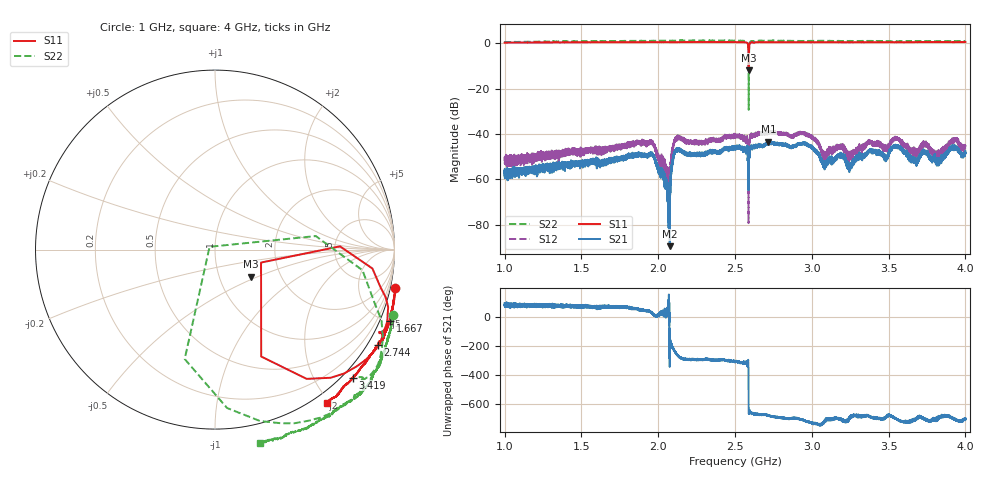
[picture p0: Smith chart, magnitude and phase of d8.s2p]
!Agilent Technologies,N5230C,SG49000117,A.08.50.07
!Agilent N5230C: A.08.50.07
!Date: Monday, May 20, 2024 21:10:07
!Correction: S11(Full 2 Port(1,2))
!S21(Full 2 Port(1,2))
!S12(Full 2 Port(1,2))
!S22(Full 2 Port(1,2))
!S2P File: Measurements: S11, S21, S12, S22:
# Hz S  MA  R 50
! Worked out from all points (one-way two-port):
!   20001 points, 1 GHz to 4 GHz, reference 50 ohm
!   highest |S21| = -43.42 dB at 2.717 GHz (marker M1); lowest = -89.5 dB at 2.075 GHz (marker M2)
!   lowest |S11| = -12.0 dB at 2.589 GHz (marker M3), VSWR 1.67, Z = 70.9 - j22.8 ohm
!   |S11| at or under -10 dB: 2.588553 GHz to 2.589504 GHz (951.2 kHz wide, 0.0367 % of centre)
!   |S22| runs from -29.4 to 1.2 dB; largest |S21 - S12| = 0.0065
!   S11 on the Smith chart (normalised r, x): 1 GHz: -1.23, -9.23; 1.667 GHz: -0.69, -5.03; 2.744 GHz: -0.36, -3.66; 3.419 GHz: -0.18, -2.54; 4 GHz: -0.14, -1.95
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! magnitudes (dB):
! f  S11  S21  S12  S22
! 1 GHz  0.2  -56.5  -52.1  0.5
! 1.5 GHz  0.4  -52.3  -47.7  0.8
! 1.667 GHz  0.4  -52.1  -46.4  0.9
! 1.951 GHz  0.5  -49.2  -44.5  1.0
! 2 GHz  0.4  -55.4  -50.8  1.0
! 2.075 GHz  0.5  -89.5  -69.1  1.0
! 2.096 GHz  0.4  -51.4  -46.1  1.1
! 2.122 GHz  0.4  -47.1  -41.9  1.1
! 2.5 GHz  0.5  -46.1  -41.0  1.1
! 2.589 GHz  -12.0  -46.0  -45.3  -17.5
! 2.717 GHz  0.4  -43.4  -39.5  1.1
! 2.744 GHz  0.4  -43.8  -38.6  1.1
! 3 GHz  0.4  -45.9  -41.4  1.0
! 3.084 GHz  0.4  -54.3  -50.1  1.0
! 3.419 GHz  0.4  -47.2  -43.7  0.9
! 3.5 GHz  0.4  -48.4  -46.1  0.9
! 3.552 GHz  0.4  -45.3  -42.3  0.9
! 3.675 GHz  0.5  -52.1  -48.9  0.9
! 3.735 GHz  0.5  -47.6  -44.0  0.9
! 3.818 GHz  0.5  -50.6  -48.1  0.8
! 3.926 GHz  0.4  -45.9  -43.1  0.9
! 4 GHz  0.5  -47.5  -45.1  0.9
